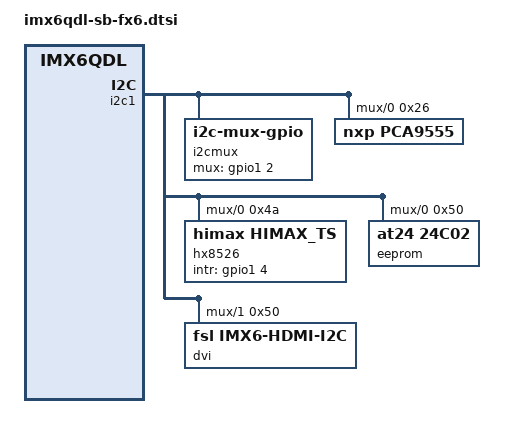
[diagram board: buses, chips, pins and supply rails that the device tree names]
/*
 * Copyright 2014 CompuLab Ltd.
 *
 * Author: Valentin Raevsky <valentin@compulab.co.il>
 *
 * The code contained herein is licensed under the GNU General Public
 * License. You may obtain a copy of the GNU General Public License
 * Version 2 or later at the following locations:
 *
 * http://www.opensource.org/licenses/gpl-license.html
 * http://www.gnu.org/copyleft/gpl.html
 */

/ {
	i2cmux {
		compatible = "i2c-mux-gpio";
		#address-cells = <1>;
		#size-cells = <0>;
		mux-gpios = <&gpio1 2 0>;
		i2c-parent = <&i2c1>;

		i2c@0 {
			reg = <0>;
			#address-cells = <1>;
			#size-cells = <0>;

			pca9555@26 {
			      compatible = "nxp,pca9555";
			      gpio-controller;
			      #gpio-cells = <2>;
			      reg = <0x26>;
			};

			hx8526@4a {
			      compatible = "himax,himax_ts";
			      reg = <0x4a>;
			      gpio_intr = <&gpio1 4 0>;
			};

			eeprom@50 {
				compatible = "at24,24c02";
				reg = <0x50>;
				pagesize = <16>;
			};

		};

		i2c@1 {
			reg = <1>;
			#address-cells = <1>;
			#size-cells = <0>;

			dvi: edid@50 {
				compatible = "fsl,imx6-hdmi-i2c";
				reg = <0x50>;
			};
		};

	};
};
